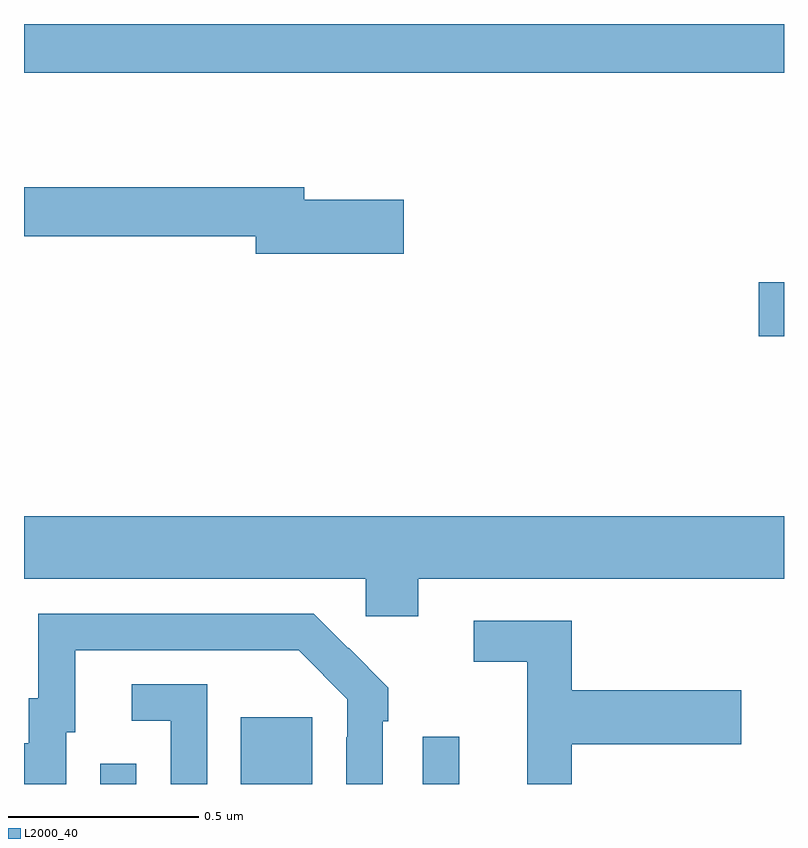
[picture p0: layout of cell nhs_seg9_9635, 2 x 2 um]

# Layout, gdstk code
import gdstk
lib = gdstk.Library(unit=1e-6, precision=1e-09)
def R(c, l, rs):  # rectangles x0, y0, x1, y1
    for r in rs: c.add(gdstk.rectangle(r[:2], r[2:], *l))
def P(c, l, *ps):  # polygons
    for p in ps: c.add(gdstk.Polygon(p, *l))
L2000_40 = (2000, 40)

nhs_seg9_9635 = lib.new_cell('nhs_seg9_9635')
R(nhs_seg9_9635, L2000_40, [(232.2,1242.5,232.296,1242.553), (232.571,1242.5,232.759,1242.676), (233.049,1242.5,233.145,1242.625), (233.934,1243.678,234,1243.82), (232,1244.372,234,1244.5)])
P(nhs_seg9_9635, L2000_40, [(232.999,1244.037),(232.738,1244.037),(232.738,1244.071),(232,1244.071),(232,1243.942),(232.61,1243.942),(232.61,1243.895),(232.999,1243.895)],
  [(233.038,1243.04),(234,1243.04),(234,1243.204),(232,1243.204),(232,1243.04),(232.899,1243.04),(232.899,1242.942),(233.038,1242.942)],
  [(232.111,1242.636),(232.135,1242.636),(232.135,1242.852),(232.723,1242.852),(232.851,1242.723),(232.851,1242.623),(232.848,1242.623),(232.848,1242.5),(232.944,1242.5),(232.944,1242.665),(232.959,1242.665),(232.959,1242.753),(232.854,1242.858),(232.853,1242.857),(232.762,1242.948),(232.038,1242.948),(232.038,1242.726),(232.013,1242.726),(232.013,1242.607),(232,1242.607),(232,1242.5),(232.111,1242.5)],
  [(233.441,1242.605),(233.887,1242.605),(233.887,1242.747),(233.441,1242.747),(233.441,1242.93),(233.184,1242.93),(233.184,1242.822),(233.324,1242.822),(233.324,1242.5),(233.441,1242.5)],
  [(232.482,1242.762),(232.284,1242.762),(232.284,1242.666),(232.386,1242.666),(232.386,1242.5),(232.482,1242.5)])

lib.write_gds('nhs_seg9_9635.gds')
